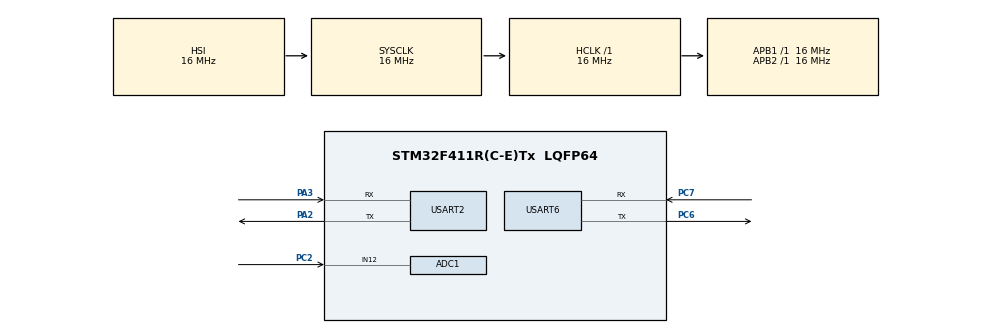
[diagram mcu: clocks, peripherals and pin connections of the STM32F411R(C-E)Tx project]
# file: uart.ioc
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ADC1.Channel-0\#ChannelRegularConversion=ADC_CHANNEL_12
ADC1.NbrOfConversionFlag=1
ADC1.Rank-0\#ChannelRegularConversion=1
ADC1.SamplingTime-0\#ChannelRegularConversion=ADC_SAMPLETIME_3CYCLES
ADC1.master=1
Mcu.Family=STM32F4
Mcu.Name=STM32F411R(C-E)Tx
Mcu.Package=LQFP64
NVIC.PriorityGroup=NVIC_PRIORITYGROUP_4
PA13.Mode=Trace_Asynchronous_SW
PA13.Signal=SYS_JTMS-SWDIO
PA14.Mode=Trace_Asynchronous_SW
PA14.Signal=SYS_JTCK-SWCLK
PA2.Mode=Asynchronous
PA2.Signal=USART2_TX
PA3.Mode=Asynchronous
PA3.Signal=USART2_RX
PB3.Mode=Trace_Asynchronous_SW
PB3.Signal=SYS_JTDO-SWO
PC2.Signal=ADCx_IN12
PC6.Mode=Asynchronous
PC6.Signal=USART6_TX
PC7.Mode=Asynchronous
PC7.Signal=USART6_RX
PH0\ -\ OSC_IN.Mode=HSE-External-Oscillator
PH0\ -\ OSC_IN.Signal=RCC_OSC_IN
PH1\ -\ OSC_OUT.Mode=HSE-External-Oscillator
PH1\ -\ OSC_OUT.Signal=RCC_OSC_OUT
ProjectManager.HeapSize=0x200
ProjectManager.StackSize=0x400
ProjectManager.TargetToolchain=MDK-ARM V5
RCC.AHBFreq_Value=16000000
RCC.APB1Freq_Value=16000000
RCC.APB2Freq_Value=16000000
RCC.CortexFreq_Value=16000000
RCC.HSE_VALUE=25000000
RCC.HSI_VALUE=16000000
RCC.LSE_VALUE=32768
RCC.SYSCLKFreq_VALUE=16000000
RCC.VCOOutputFreq_Value=192000000
SH.ADCx_IN12.0=ADC1_IN12,IN12
USART2.VirtualMode=VM_ASYNC
USART6.VirtualMode=VM_ASYNC
board=custom

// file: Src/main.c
/* USER CODE BEGIN Header */
/**
  ******************************************************************************
  * @file           : main.c
  * @brief          : Main program body
  ******************************************************************************
  * @attention
  *
  * <h2><center>&copy; Copyright (c) 2019 STMicroelectronics.
  * All rights reserved.</center></h2>
  *
  * This software component is licensed by ST under BSD 3-Clause license,
  * the "License"; You may not use this file except in compliance with the
  * License. You may obtain a copy of the License at:
  *                        opensource.org/licenses/BSD-3-Clause
  *
  ******************************************************************************
  */
/* USER CODE END Header */

#include "main.h"

/* USER CODE BEGIN Includes */
#include "string.h"
#include "stdio.h"
#include "stdlib.h"
/* USER CODE END Includes */

ADC_HandleTypeDef hadc1;

UART_HandleTypeDef huart2;
UART_HandleTypeDef huart6;

void SystemClock_Config(void);
static void MX_GPIO_Init(void);
static void MX_USART2_UART_Init(void);
static void MX_USART6_UART_Init(void);
static void MX_ADC1_Init(void);

/* USER CODE BEGIN 0 */

#define buffer 200

uint8_t buffer_rx[buffer];
uint8_t buffer_tx[buffer];
uint8_t i, count;
uint8_t capture;
uint8_t result;
uint8_t random = 0;
double temp = 0;
float total_temp = 0;

char debug[200];

void print(char *text)
{
	HAL_UART_Transmit(&huart2,(uint8_t *)text, strlen(text), 100);
}

void send_data(char *tx)
{
	HAL_UART_Transmit(&huart6, (uint8_t *)tx, strlen(tx), 100);
}

int8_t find_str(char *str)
{
	if(strstr((char *)buffer_rx, str) != 0)
		return 1;
	else
		return -1;
}

void wait_data()
{
	count = 0;
	for(i = 0; i < buffer; i++)
		buffer_rx[i] = 0;
	do
	{
		HAL_UART_Receive(&huart6, buffer_rx, buffer, 400);
	} while(buffer_rx[0] == 0);
	for(i = 0; i < buffer; i++)
	{
		if(buffer_rx[i] != 0)
			count++;
		else
			break;
	}
	print((char *)buffer_rx);
}

char *read_data(char *source, char *data, int length)
{
	char *response = (char*) malloc(sizeof(char));
	if(strstr((char *)source, data) != 0)
	{
		capture = strstr((char *)source, data) - (char *)source;
		strncpy(response, (char *)source+capture+strlen(data), length);
		*(response+length) = '\0';
		return response;
	}
	else
		return "null";
}
/* USER CODE END 0 */

int main(void)
{

  /* MCU Configuration--------------------------------------------------------*/

  /* Reset of all peripherals, Initializes the Flash interface and the Systick. */
  HAL_Init();

  /* Configure the system clock */
  SystemClock_Config();

  /* Initialize all configured peripherals */
  MX_GPIO_Init();
  MX_USART2_UART_Init();
  MX_USART6_UART_Init();
  MX_ADC1_Init();
  /* USER CODE BEGIN 2 */
	HAL_UART_Transmit(&huart2, (uint8_t *)"---------------------\r\n", 23, 100);

	send_data("AT+CWMODE=1\r\n");
	wait_data();

	send_data("AT+CWMODE?\r\n");
	wait_data();

	//send_data("AT+CWJAP=\"TurkTelekom_ZHE97\",\"2545f4c4e9972\"\r\n");
	//wait_data();

	send_data("AT+CIFSR\r\n");
	wait_data();
	sprintf(debug, "%s\r\n", read_data((char *)buffer_rx, "STAIP,\"", 12));
	print(debug);
	print("Ready\r\n\r\n");
	HAL_Delay(1000);
  /* USER CODE END 2 */

  /* Infinite loop */
  while (1)
  {

    /* USER CODE BEGIN 3 */
		total_temp = 0;
		for (uint8_t sample = 0; sample < 200; sample++)
		{
			HAL_ADC_Start(&hadc1);
			temp = HAL_ADC_GetValue(&hadc1)*3.3/4096.0;
			//temp = temp - 0.5;
			temp = temp / 0.1;
			total_temp += temp;
		}
		total_temp /= 200;
		sprintf(debug, "Temp: %f\r\n", total_temp);
		print(debug);
		HAL_Delay(500);
		send_data("AT+CIPSTART=\"TCP\",\"184.106.153.149\",80\r\n");
		wait_data();
		send_data("AT+CIPSEND=53\r\n");
		wait_data();
		if(strchr((char *)buffer_rx, '>') != 0)
		{
			sprintf(debug, "GET /update?api_key=XB4BYYQ3KKLS7O97&field1=%.2f\r\n\r\n", total_temp);
			send_data(debug);
			wait_data();
		}
  }
  /* USER CODE END 3 */
}

void SystemClock_Config(void)
{
  RCC_OscInitTypeDef RCC_OscInitStruct = {0};
  RCC_ClkInitTypeDef RCC_ClkInitStruct = {0};

  /** Configure the main internal regulator output voltage
  */
  __HAL_RCC_PWR_CLK_ENABLE();
  __HAL_PWR_VOLTAGESCALING_CONFIG(PWR_REGULATOR_VOLTAGE_SCALE1);
  /** Initializes the CPU, AHB and APB busses clocks
  */
  RCC_OscInitStruct.OscillatorType = RCC_OSCILLATORTYPE_HSI;
  RCC_OscInitStruct.HSIState = RCC_HSI_ON;
  RCC_OscInitStruct.HSICalibrationValue = RCC_HSICALIBRATION_DEFAULT;
  RCC_OscInitStruct.PLL.PLLState = RCC_PLL_NONE;
  if (HAL_RCC_OscConfig(&RCC_OscInitStruct) != HAL_OK)
  {
    Error_Handler();
  }
  /** Initializes the CPU, AHB and APB busses clocks
  */
  RCC_ClkInitStruct.ClockType = RCC_CLOCKTYPE_HCLK|RCC_CLOCKTYPE_SYSCLK
                              |RCC_CLOCKTYPE_PCLK1|RCC_CLOCKTYPE_PCLK2;
  RCC_ClkInitStruct.SYSCLKSource = RCC_SYSCLKSOURCE_HSI;
  RCC_ClkInitStruct.AHBCLKDivider = RCC_SYSCLK_DIV1;
  RCC_ClkInitStruct.APB1CLKDivider = RCC_HCLK_DIV1;
  RCC_ClkInitStruct.APB2CLKDivider = RCC_HCLK_DIV1;

  if (HAL_RCC_ClockConfig(&RCC_ClkInitStruct, FLASH_LATENCY_0) != HAL_OK)
  {
    Error_Handler();
  }
}

static void MX_ADC1_Init(void)
{

  ADC_ChannelConfTypeDef sConfig = {0};

  /** Configure the global features of the ADC (Clock, Resolution, Data Alignment and number of conversion)
  */
  hadc1.Instance = ADC1;
  hadc1.Init.ClockPrescaler = ADC_CLOCK_SYNC_PCLK_DIV2;
  hadc1.Init.Resolution = ADC_RESOLUTION_12B;
  hadc1.Init.ScanConvMode = DISABLE;
  hadc1.Init.ContinuousConvMode = DISABLE;
  hadc1.Init.DiscontinuousConvMode = DISABLE;
  hadc1.Init.ExternalTrigConvEdge = ADC_EXTERNALTRIGCONVEDGE_NONE;
  hadc1.Init.ExternalTrigConv = ADC_SOFTWARE_START;
  hadc1.Init.DataAlign = ADC_DATAALIGN_RIGHT;
  hadc1.Init.NbrOfConversion = 1;
  hadc1.Init.DMAContinuousRequests = DISABLE;
  hadc1.Init.EOCSelection = ADC_EOC_SINGLE_CONV;
  if (HAL_ADC_Init(&hadc1) != HAL_OK)
  {
    Error_Handler();
  }
  /** Configure for the selected ADC regular channel its corresponding rank in the sequencer and its sample time.
  */
  sConfig.Channel = ADC_CHANNEL_12;
  sConfig.Rank = 1;
  sConfig.SamplingTime = ADC_SAMPLETIME_3CYCLES;
  if (HAL_ADC_ConfigChannel(&hadc1, &sConfig) != HAL_OK)
  {
    Error_Handler();
  }

}

static void MX_USART2_UART_Init(void)
{

  huart2.Instance = USART2;
  huart2.Init.BaudRate = 115200;
  huart2.Init.WordLength = UART_WORDLENGTH_8B;
  huart2.Init.StopBits = UART_STOPBITS_1;
  huart2.Init.Parity = UART_PARITY_NONE;
  huart2.Init.Mode = UART_MODE_TX_RX;
  huart2.Init.HwFlowCtl = UART_HWCONTROL_NONE;
  huart2.Init.OverSampling = UART_OVERSAMPLING_16;
  if (HAL_UART_Init(&huart2) != HAL_OK)
  {
    Error_Handler();
  }

}

static void MX_USART6_UART_Init(void)
{

  huart6.Instance = USART6;
  huart6.Init.BaudRate = 115200;
  huart6.Init.WordLength = UART_WORDLENGTH_8B;
  huart6.Init.StopBits = UART_STOPBITS_1;
  huart6.Init.Parity = UART_PARITY_NONE;
  huart6.Init.Mode = UART_MODE_TX_RX;
  huart6.Init.HwFlowCtl = UART_HWCONTROL_NONE;
  huart6.Init.OverSampling = UART_OVERSAMPLING_16;
  if (HAL_UART_Init(&huart6) != HAL_OK)
  {
    Error_Handler();
  }

}

static void MX_GPIO_Init(void)
{

  /* GPIO Ports Clock Enable */
  __HAL_RCC_GPIOH_CLK_ENABLE();
  __HAL_RCC_GPIOC_CLK_ENABLE();
  __HAL_RCC_GPIOA_CLK_ENABLE();
  __HAL_RCC_GPIOB_CLK_ENABLE();

}

void Error_Handler(void)
{
}

/************************ (C) COPYRIGHT STMicroelectronics *****END OF FILE****/
